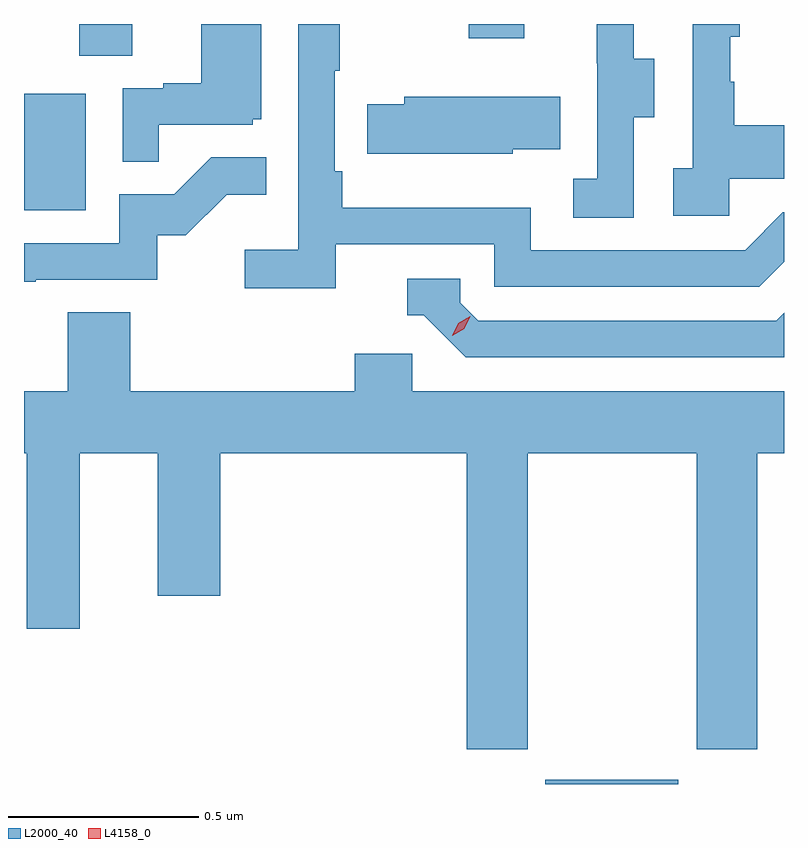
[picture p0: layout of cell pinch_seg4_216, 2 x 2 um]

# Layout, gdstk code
import gdstk
lib = gdstk.Library(unit=1e-6, precision=1e-09)
def R(c, l, rs):  # rectangles x0, y0, x1, y1
    for r in rs: c.add(gdstk.rectangle(r[:2], r[2:], *l))
def P(c, l, *ps):  # polygons
    for p in ps: c.add(gdstk.Polygon(p, *l))
L2000_40 = (2000, 40)
L4158_0 = (4158, 0)

pinch_seg4_216 = lib.new_cell('pinch_seg4_216')
R(pinch_seg4_216, L2000_40, [(993.2,830.582,993.55,830.593), (991.828,832.092,991.99,832.399), (991.973,832.498,992.113,832.582), (992.998,832.545,993.145,832.582)])
P(pinch_seg4_216, L2000_40, [(992.648,832.002),(993.066,832.002),(993.066,831.891),(993.763,831.891),(993.828,831.956),(993.828,832.086),(993.825,832.086),(993.726,831.987),(993.162,831.987),(993.162,832.099),(992.665,832.099),(992.665,832.195),(992.646,832.195),(992.646,832.459),(992.659,832.459),(992.659,832.582),(992.55,832.582),(992.55,831.988),(992.409,831.988),(992.409,831.886),(992.648,831.886)],
  [(992.183,832.317),(992.43,832.317),(992.43,832.332),(992.452,832.332),(992.452,832.582),(992.294,832.582),(992.294,832.426),(992.195,832.426),(992.195,832.413),(992.088,832.413),(992.088,832.219),(992.183,832.219)],
  [(993.684,832.175),(993.828,832.175),(993.828,832.315),(993.697,832.315),(993.697,832.43),(993.687,832.43),(993.687,832.548),(993.712,832.548),(993.712,832.582),(993.588,832.582),(993.588,832.202),(993.537,832.202),(993.537,832.077),(993.684,832.077)],
  [(993.432,832.336),(993.487,832.336),(993.487,832.491),(993.433,832.491),(993.433,832.582),(993.335,832.582),(993.335,832.479),(993.336,832.479),(993.336,832.175),(993.273,832.175),(993.273,832.072),(993.432,832.072)],
  [(993.114,832.253),(993.239,832.253),(993.239,832.39),(992.829,832.39),(992.829,832.371),(992.731,832.371),(992.731,832.241),(993.114,832.241)],
  [(991.859,831.909),(992.178,831.909),(992.178,832.026),(992.254,832.026),(992.361,832.133),(992.465,832.133),(992.465,832.232),(992.321,832.232),(992.223,832.134),(992.079,832.134),(992.079,832.005),(991.828,832.005),(991.828,831.904),(991.859,831.904)],
  [(993.828,831.822),(993.807,831.801),(993.024,831.801),(992.976,831.849),(992.976,831.912),(992.837,831.912),(992.837,831.816),(992.88,831.816),(992.991,831.705),(993.828,831.705)],
  [(993.153,831.452),(993.598,831.452),(993.598,830.673),(993.758,830.673),(993.758,831.452),(993.828,831.452),(993.828,831.616),(992.85,831.616),(992.85,831.714),(992.699,831.714),(992.699,831.616),(992.108,831.616),(992.108,831.824),(991.943,831.824),(991.943,831.616),(991.828,831.616),(991.828,831.452),(991.835,831.452),(991.835,830.991),(991.975,830.991),(991.975,831.452),(992.18,831.452),(992.18,831.078),(992.344,831.078),(992.344,831.452),(992.993,831.452),(992.993,830.673),(993.153,830.673)])
P(pinch_seg4_216, L4158_0, [(992.955,831.761),(992.955,831.762),(992.971,831.794),(993.002,831.813),(993.002,831.813),(993.002,831.813),(992.986,831.78),(992.955,831.761)])

lib.write_gds('pinch_seg4_216.gds')
